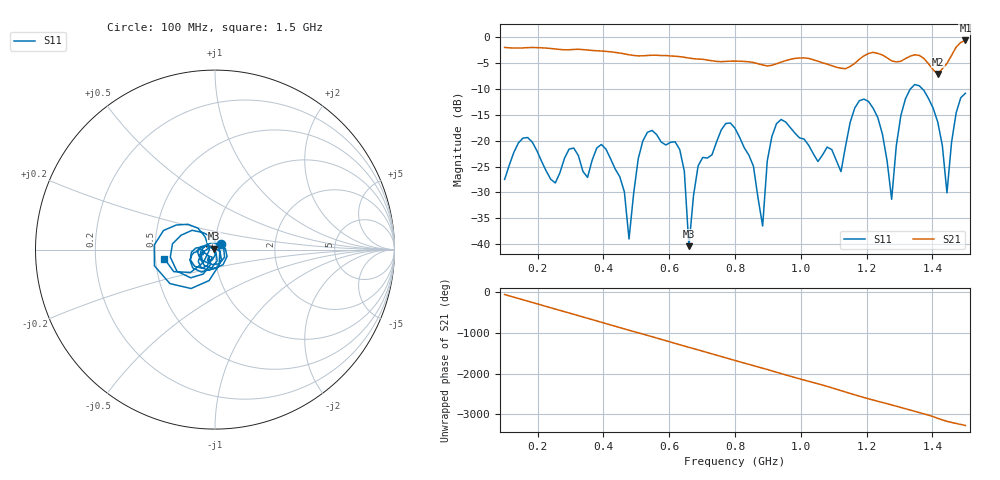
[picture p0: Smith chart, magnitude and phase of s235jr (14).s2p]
! NanoVNA-App
! Date: 2025-09-25 15:04:16
! Start: 100MHz Stop: 1,5GHz Points: 101
! S-Parameter data: F S11 S21 S12 S22
# Hz S RI R 50
!  Frequency  S11_Real  S11_Imag  S21_Real  S21_Imag  S12_Real  S12_Imag  S22_Real  S22_Imag
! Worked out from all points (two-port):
!   101 points, 100 MHz to 1.5 GHz, reference 50 ohm
!   highest |S21| = -0.61 dB at 1.5 GHz (marker M1); lowest = -7.1 dB at 1.416 GHz (marker M2)
!   |S21| within 3 dB of the highest: start of sweep to 604 MHz; 1.191 GHz to 1.253 GHz (61.69 MHz wide, 5.05 % of centre) (the widest 2 of 4)
!   lowest |S11| = -40.4 dB at 660 MHz (marker M3), VSWR 1.02, Z = 49.2 + j0.564 ohm
!   |S11| at or under -10 dB: start of sweep to 1.333 GHz; 1.37 GHz to end of sweep
!   S12 and S22 are empty: the file has one direction only
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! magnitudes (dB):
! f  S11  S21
! 100 MHz  -27.5  -2.0
! 170 MHz  -19.4  -2.0
! 338 MHz  -25.9  -2.4
! 408 MHz  -21.6  -2.7
! 478 MHz  -39.0  -3.4
! 520 MHz  -20.0  -3.6
! 576 MHz  -20.3  -3.5
! 632 MHz  -21.7  -3.7
! 660 MHz  -40.4  -4.0
! 688 MHz  -24.9  -4.2
! 800 MHz  -17.6  -4.6
! 884 MHz  -36.5  -5.3
! 898 MHz  -23.9  -5.5
! 926 MHz  -16.7  -5.1
! 1.038 GHz  -22.5  -4.4
! 1.122 GHz  -26.0  -6.0
! 1.206 GHz  -12.4  -3.1
! 1.276 GHz  -31.3  -4.6
! 1.332 GHz  -10.0  -3.7
! 1.416 GHz  -16.4  -7.1
! 1.444 GHz  -30.1  -5.1
! 1.5 GHz  -10.8  -0.6
